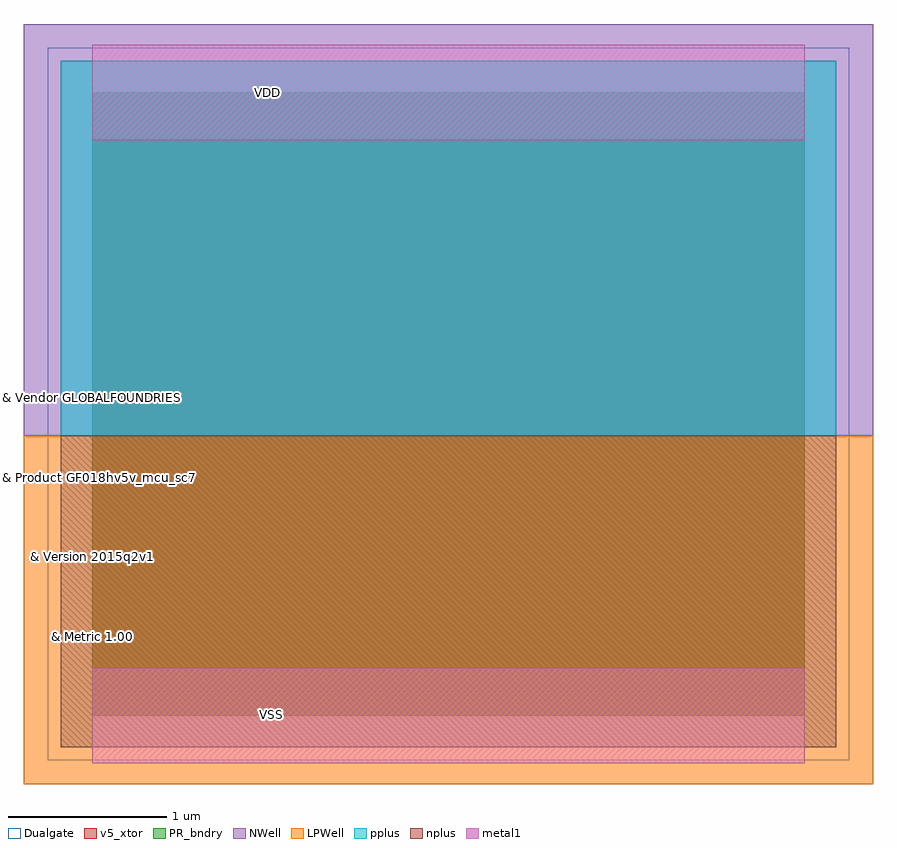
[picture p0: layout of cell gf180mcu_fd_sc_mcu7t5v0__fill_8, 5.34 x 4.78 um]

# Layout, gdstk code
import gdstk
lib = gdstk.Library(unit=1e-6, precision=1e-09)
def R(c, l, rs):  # rectangles x0, y0, x1, y1
    for r in rs: c.add(gdstk.rectangle(r[:2], r[2:], *l))
PR_bndry = (0, 0)
NWell = (21, 0)
pplus = (31, 0)
nplus = (32, 0)
metal1 = (34, 0)
Dualgate = (55, 0)
v5_xtor = (112, 1)
LPWell = (204, 0)

gf180mcu_fd_sc_mcu7t5v0_ = lib.new_cell('gf180mcu_fd_sc_mcu7t5v0__fill_8')
R(gf180mcu_fd_sc_mcu7t5v0_, PR_bndry, [(0,0,4.48,3.92)])
R(gf180mcu_fd_sc_mcu7t5v0_, NWell, [(-0.43,1.76,4.91,4.35)])
R(gf180mcu_fd_sc_mcu7t5v0_, pplus, [(-0.2,1.76,4.68,4.12)])
R(gf180mcu_fd_sc_mcu7t5v0_, nplus, [(-0.2,-0.2,4.68,1.76)])
R(gf180mcu_fd_sc_mcu7t5v0_, metal1, [(0,-0.3,4.48,0.3), (0,3.62,4.48,4.22)])
R(gf180mcu_fd_sc_mcu7t5v0_, Dualgate, [(-0.28,-0.28,4.76,4.2)])
R(gf180mcu_fd_sc_mcu7t5v0_, v5_xtor, [(0,0,4.48,3.92)])
R(gf180mcu_fd_sc_mcu7t5v0_, LPWell, [(-0.43,-0.43,4.91,1.76)])
gf180mcu_fd_sc_mcu7t5v0_.add(gdstk.Label('VDD', (1.1,3.92), layer=34, texttype=10))
gf180mcu_fd_sc_mcu7t5v0_.add(gdstk.Label('VSS', (1.125,0.01), layer=34, texttype=10))
gf180mcu_fd_sc_mcu7t5v0_.add(gdstk.Label('& Vendor GLOBALFOUNDRIES', (0,2), layer=63, texttype=63))
gf180mcu_fd_sc_mcu7t5v0_.add(gdstk.Label('& Product GF018hv5v_mcu_sc7', (0,1.5), layer=63, texttype=63))
gf180mcu_fd_sc_mcu7t5v0_.add(gdstk.Label('& Version 2015q2v1', (0,1), layer=63, texttype=63))
gf180mcu_fd_sc_mcu7t5v0_.add(gdstk.Label('& Metric 1.00', (0,0.5), layer=63, texttype=63))

lib.write_gds('gf180mcu_fd_sc_mcu7t5v0__fill_8.gds')
